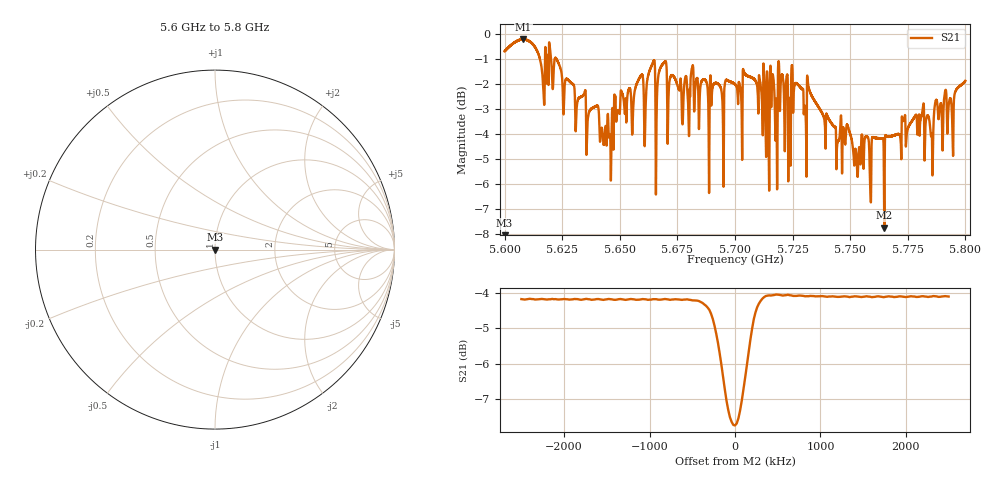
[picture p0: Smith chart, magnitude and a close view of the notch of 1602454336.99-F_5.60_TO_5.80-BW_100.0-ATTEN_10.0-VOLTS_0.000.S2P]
!Keysight Technologies,E5063A,MY54502693,A.05.04
!Date: Mon Oct 12 07:13:54 2020
!Data & Calibration Information:
!Freq	S11:NONE(--)	S21:NONE(--)	S12:NONE(--)	S22:NONE(--)
# Hz S RI R 50
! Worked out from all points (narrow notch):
!   10000 points, 5.6 GHz to 5.8 GHz, reference 50 ohm
!   highest |S21| = -0.18 dB at 5.6081 GHz (marker M1); lowest = -7.8 dB at 5.7648 GHz (marker M2)
!   notch at M2: 5.3 dB deep, 418 kHz wide at half that depth
!   lowest |S11| = - dB at 5.6 GHz (marker M3), VSWR 1.00, Z = 50 + j0 ohm
!   |S11| at or under -10 dB: start of sweep to end of sweep
!   S12 and S22 are empty: the file has one direction only
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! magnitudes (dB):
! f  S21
! 5.6 GHz  -0.7
! 5.6081 GHz  -0.2
! 5.6333 GHz  -2.5
! 5.6454 GHz  -4.1
! 5.6589 GHz  -1.7
! 5.6613 GHz  -2.7
! 5.6642 GHz  -1.2
! 5.6667 GHz  -1.7
! 5.6692 GHz  -1.1
! 5.6768 GHz  -2.4
! 5.7 GHz  -2.0
! 5.7083 GHz  -1.8
! 5.7141 GHz  -1.7
! 5.7161 GHz  -1.7
! 5.7176 GHz  -4.3
! 5.7196 GHz  -2.8
! 5.7334 GHz  -2.5
! 5.7525 GHz  -4.7
! 5.7648 GHz  -7.8
! 5.7667 GHz  -4.1
! 5.7853 GHz  -4.0
! 5.8 GHz  -1.9
